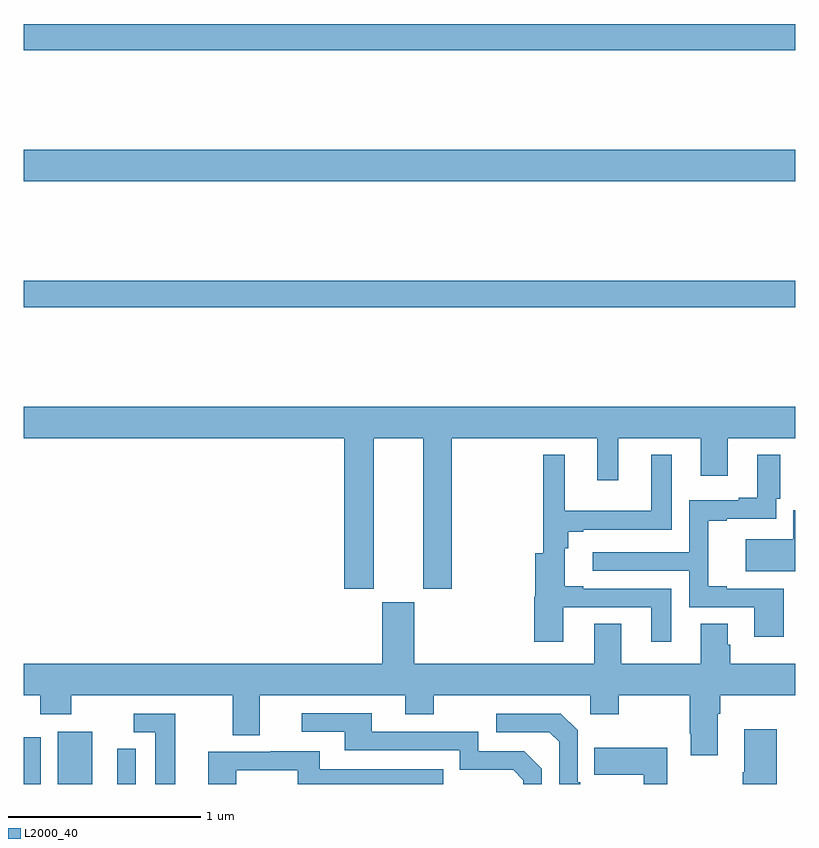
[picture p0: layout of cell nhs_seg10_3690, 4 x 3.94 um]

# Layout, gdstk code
import gdstk
lib = gdstk.Library(unit=1e-6, precision=1e-09)
def R(c, l, rs):  # rectangles x0, y0, x1, y1
    for r in rs: c.add(gdstk.rectangle(r[:2], r[2:], *l))
def P(c, l, *ps):  # polygons
    for p in ps: c.add(gdstk.Polygon(p, *l))
L2000_40 = (2000, 40)

nhs_seg10_3690 = lib.new_cell('nhs_seg10_3690')
R(nhs_seg10_3690, L2000_40, [(311,1322.5,311.088,1322.742), (311.177,1322.5,311.356,1322.77), (311,1324.972,315,1325.108), (311,1325.624,315,1325.788), (311,1326.304,315,1326.44)])
P(nhs_seg10_3690, L2000_40, [(312.814,1324.292),(313.07,1324.292),(313.07,1323.513),(313.218,1323.513),(313.218,1324.292),(313.973,1324.292),(313.973,1324.074),(314.083,1324.074),(314.083,1324.292),(314.51,1324.292),(314.51,1324.098),(314.65,1324.098),(314.65,1324.292),(315,1324.292),(315,1324.456),(311,1324.456),(311,1324.292),(312.662,1324.292),(312.662,1323.513),(312.814,1323.513)],
  [(314.939,1323.513),(314.644,1323.513),(314.644,1323.526),(314.549,1323.526),(314.549,1323.864),(314.644,1323.864),(314.644,1323.876),(314.901,1323.876),(314.901,1323.979),(314.921,1323.979),(314.921,1324.207),(314.804,1324.207),(314.804,1323.985),(314.708,1323.985),(314.708,1323.972),(314.451,1323.972),(314.451,1323.702),(313.95,1323.702),(313.95,1323.606),(314.451,1323.606),(314.451,1323.417),(314.786,1323.417),(314.786,1323.264),(314.939,1323.264)],
  [(313.798,1323.417),(314.252,1323.417),(314.252,1323.237),(314.356,1323.237),(314.356,1323.513),(313.9,1323.513),(313.9,1323.526),(313.804,1323.526),(313.804,1323.722),(313.822,1323.722),(313.822,1323.807),(313.9,1323.807),(313.9,1323.819),(314.359,1323.819),(314.359,1324.207),(314.252,1324.207),(314.252,1323.916),(313.804,1323.916),(313.804,1324.207),(313.693,1324.207),(313.693,1323.697),(313.651,1323.697),(313.651,1323.471),(313.646,1323.471),(313.646,1323.237),(313.798,1323.237)],
  [(315,1323.919),(314.99,1323.919),(314.99,1323.769),(314.742,1323.769),(314.742,1323.602),(315,1323.602)],
  [(314.599,1322.864),(314.612,1322.864),(314.612,1322.96),(315,1322.96),(315,1323.124),(314.663,1323.124),(314.663,1323.222),(314.65,1323.222),(314.65,1323.332),(314.51,1323.332),(314.51,1323.124),(314.098,1323.124),(314.098,1323.332),(313.958,1323.332),(313.958,1323.124),(313.024,1323.124),(313.024,1323.441),(312.86,1323.441),(312.86,1323.124),(311,1323.124),(311,1322.96),(311.087,1322.96),(311.087,1322.861),(311.247,1322.861),(311.247,1322.96),(312.083,1322.96),(312.083,1322.752),(312.223,1322.752),(312.223,1322.96),(312.977,1322.96),(312.977,1322.861),(313.125,1322.861),(313.125,1322.96),(313.938,1322.96),(313.938,1322.861),(314.085,1322.861),(314.085,1322.96),(314.452,1322.96),(314.452,1322.761),(314.459,1322.761),(314.459,1322.649),(314.599,1322.649)],
  [(313.686,1322.58),(313.596,1322.67),(313.356,1322.67),(313.356,1322.772),(312.805,1322.772),(312.805,1322.868),(312.441,1322.868),(312.441,1322.772),(312.665,1322.772),(312.665,1322.676),(313.26,1322.676),(313.26,1322.573),(313.537,1322.573),(313.59,1322.52),(313.59,1322.5),(313.686,1322.5)],
  [(313.885,1322.509),(313.872,1322.509),(313.872,1322.778),(313.785,1322.865),(313.449,1322.865),(313.449,1322.769),(313.725,1322.769),(313.776,1322.718),(313.776,1322.5),(313.885,1322.5)],
  [(311.785,1322.865),(311.571,1322.865),(311.571,1322.769),(311.681,1322.769),(311.681,1322.5),(311.785,1322.5)],
  [(314.903,1322.785),(314.735,1322.785),(314.735,1322.561),(314.728,1322.561),(314.728,1322.5),(314.903,1322.5)],
  [(314.335,1322.689),(313.957,1322.689),(313.957,1322.549),(314.214,1322.549),(314.214,1322.5),(314.335,1322.5)],
  [(311.58,1322.684),(311.484,1322.684),(311.484,1322.53),(311.486,1322.53),(311.486,1322.5),(311.58,1322.5)],
  [(312.102,1322.571),(312.42,1322.571),(312.42,1322.5),(313.175,1322.5),(313.175,1322.577),(312.535,1322.577),(312.535,1322.671),(312.281,1322.671),(312.281,1322.667),(311.957,1322.667),(311.957,1322.5),(312.102,1322.5)])

lib.write_gds('nhs_seg10_3690.gds')
